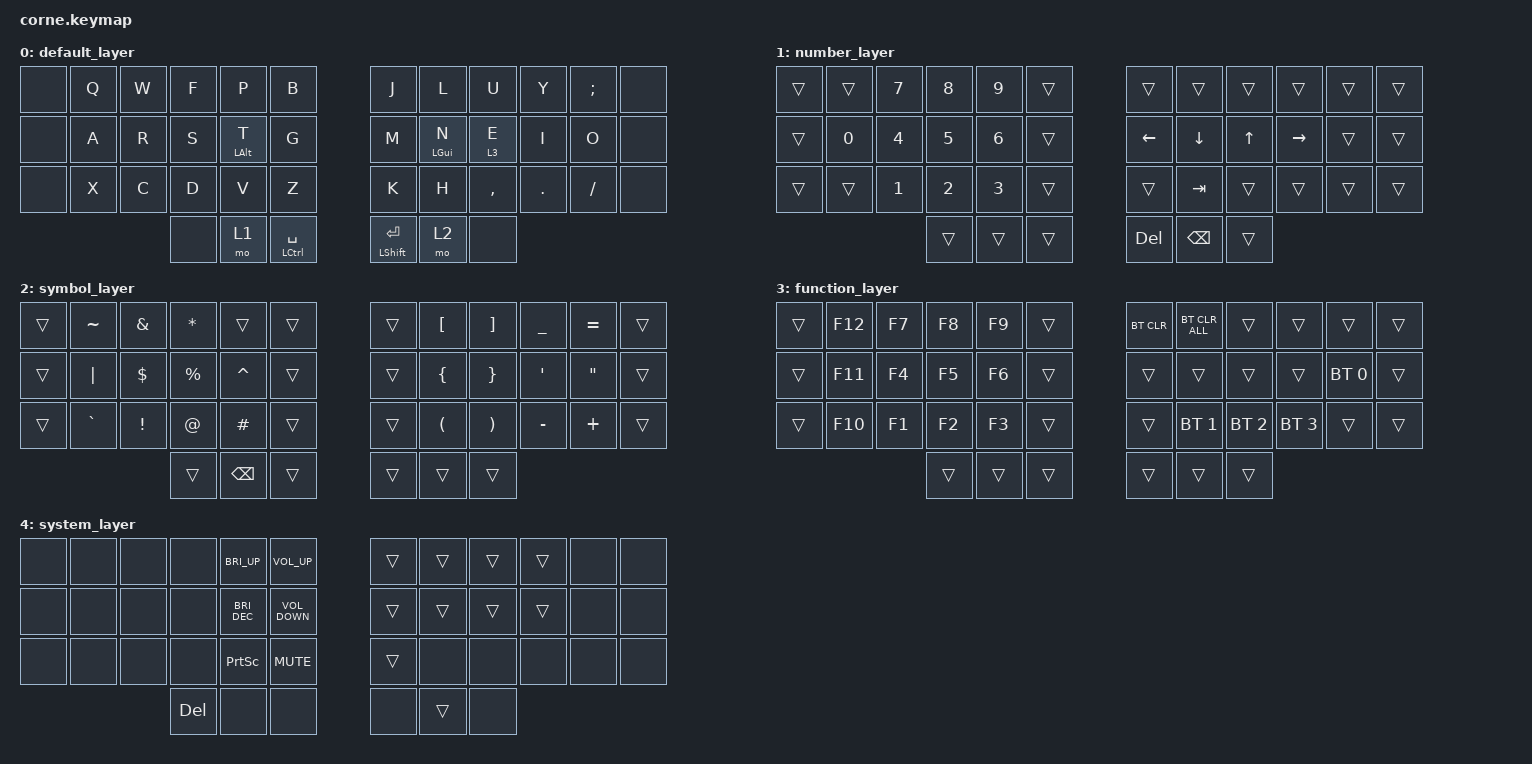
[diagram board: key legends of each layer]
/*
 * Copyright (c) 2020 The ZMK Contributors
 *
 * SPDX-License-Identifier: MIT
 */

#include <behaviors.dtsi>
#include <dt-bindings/zmk/bt.h>
#include <dt-bindings/zmk/keys.h>

/ {
    behaviors {
        tap_hold_kp_timed: tap_hold_kp_timed {
            compatible = "zmk,behavior-hold-tap";
            label = "TAP_HOLD_KP_TIMED";
            bindings = <&kp>, <&kp>;

            #binding-cells = <2>;
            tapping-term-ms = <200>;
            flavor = "balanced";
            require-prior-idle-ms = <0>;
        };

        mouseclick_kp_hold_behaviour: mouseclick_kp_hold_behaviour {
            compatible = "zmk,behavior-hold-tap";
            label = "MOUSECLICK_KP_HOLD_BEHAVIOUR";
            bindings = <&to>, <&mkp>;

            #binding-cells = <2>;
            tapping-term-ms = <150>;
        };

        tap_kp_hold_layer: tap_kp_hold_layer {
            compatible = "zmk,behavior-hold-tap";
            label = "TAP_KP_HOLD_LAYER";
            bindings = <&mo>, <&kp>;

            #binding-cells = <2>;
            tapping-term-ms = <200>;
            flavor = "tap-preferred";
        };

        tap_hold_kp: tap_hold_kp {
            compatible = "zmk,behavior-hold-tap";
            label = "TAP_HOLD_KP";
            bindings = <&kp>, <&kp>;

            #binding-cells = <2>;
            tapping-term-ms = <0>;
            flavor = "tap-preferred";
            require-prior-idle-ms = <0>;
            retro-tap;
        };
    };

    combos {
        compatible = "zmk,combos";

        toQwerty {
            bindings = <&to 0>;
            key-positions = <0 1 2>;
        };
    };

    keymap {
        compatible = "zmk,keymap";

        default_layer {
            bindings = <
&none  &kp Q  &kp W  &kp F  &kp P                          &kp B                                    &kp J                          &kp L                          &kp U                   &kp Y    &kp SEMI  &none
&none  &kp A  &kp R  &kp S  &tap_hold_kp_timed LEFT_ALT T  &kp G                                    &kp M                          &tap_hold_kp_timed LEFT_GUI N  &tap_kp_hold_layer 3 E  &kp I    &kp O     &none
&none  &kp X  &kp C  &kp D  &kp V                          &kp Z                                    &kp K                          &kp H                          &kp COMMA               &kp DOT  &kp FSLH  &none
                     &none  &mo 1                          &tap_hold_kp_timed LEFT_CONTROL SPACE    &tap_hold_kp LEFT_SHIFT ENTER  &mo 2                          &none
            >;
        };

        number_layer {
            // -----------------------------------------------------------------------------------------
            // |  TAB |  1  |  2  |  3  |  4  |  5  |   |  6  |  7  |  8  |  9  |  0  | BKSP |
            // | BTCLR| BT1 | BT2 | BT3 | BT4 | BT5 |   | LFT | DWN |  UP | RGT |     |      |
            // | SHFT |     |     |     |     |     |   |     |     |     |     |     |      |
            //                    | GUI |     | SPC |   | ENT |     | ALT |

            bindings = <
&trans  &trans  &kp N7  &kp N8  &kp N9  &trans    &trans    &trans         &trans  &trans     &trans  &trans
&trans  &kp N0  &kp N4  &kp N5  &kp N6  &trans    &kp LEFT  &kp DOWN       &kp UP  &kp RIGHT  &trans  &trans
&trans  &trans  &kp N1  &kp N2  &kp N3  &trans    &trans    &kp TAB        &trans  &trans     &trans  &trans
                        &trans  &trans  &trans    &kp DEL   &kp BACKSPACE  &trans
            >;
        };

        symbol_layer {
            // -----------------------------------------------------------------------------------------
            // |  TAB |  !  |  @  |  #  |  $  |  %  |   |  ^  |  &  |  *  |  (  |  )  | BKSP |
            // | CTRL |     |     |     |     |     |   |  -  |  =  |  [  |  ]  |  \  |  `   |
            // | SHFT |     |     |     |     |     |   |  _  |  +  |  {  |  }  | "|" |  ~   |
            //                    | GUI |     | SPC |   | ENT |     | ALT |

            bindings = <
&trans  &kp TILDE  &kp AMPERSAND    &kp STAR     &trans         &trans    &trans  &kp LBKT              &kp RIGHT_BRACKET      &kp UNDERSCORE    &kp EQUAL          &trans
&trans  &kp PIPE   &kp DOLLAR       &kp PERCENT  &kp CARET      &trans    &trans  &kp LEFT_BRACE        &kp RBRC               &kp SINGLE_QUOTE  &kp DOUBLE_QUOTES  &trans
&trans  &kp GRAVE  &kp EXCLAMATION  &kp AT_SIGN  &kp POUND      &trans    &trans  &kp LEFT_PARENTHESIS  &kp RIGHT_PARENTHESIS  &kp MINUS         &kp PLUS           &trans
                                    &trans       &kp BACKSPACE  &trans    &trans  &trans                &trans
            >;
        };

        function_layer {
            bindings = <
&trans  &kp F12  &kp F7  &kp F8  &kp F9  &trans    &bt BT_CLR  &bt BT_CLR_ALL  &trans        &trans        &trans        &trans
&trans  &kp F11  &kp F4  &kp F5  &kp F6  &trans    &trans      &trans          &trans        &trans        &bt BT_SEL 0  &trans
&trans  &kp F10  &kp F1  &kp F2  &kp F3  &trans    &trans      &bt BT_SEL 1    &bt BT_SEL 2  &bt BT_SEL 3  &trans        &trans
                         &trans  &trans  &trans    &trans      &trans          &trans
            >;
        };

        system_layer {
            bindings = <
&none  &none  &none  &none       &kp C_BRI_UP          &kp C_VOLUME_UP      &trans  &trans  &trans  &trans  &none  &none
&none  &none  &none  &none       &kp C_BRIGHTNESS_DEC  &kp C_VOLUME_DOWN    &trans  &trans  &trans  &trans  &none  &none
&none  &none  &none  &none       &kp PRINTSCREEN       &kp K_MUTE           &trans  &none   &none   &none   &none  &none
                     &kp DELETE  &none                 &none                &none   &trans  &none
            >;
        };
    };
};
